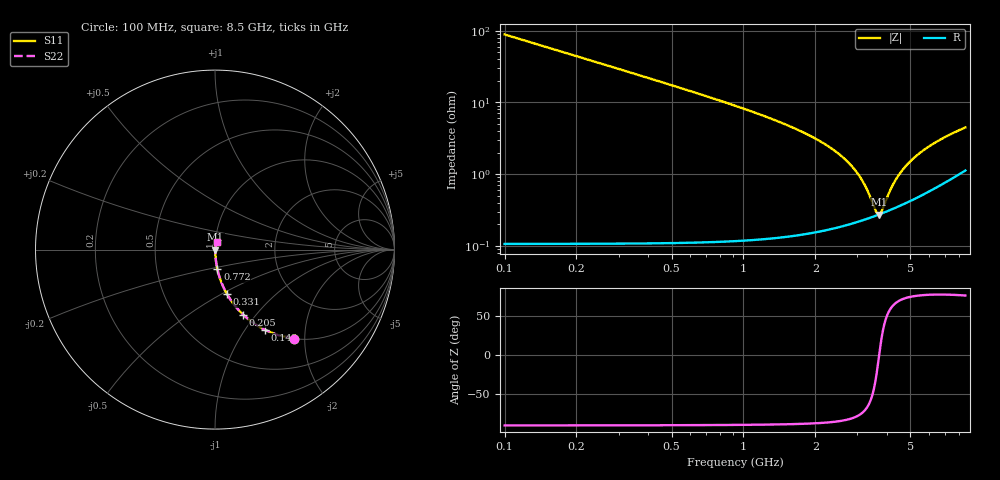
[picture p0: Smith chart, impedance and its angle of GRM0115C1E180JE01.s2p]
!Murata Part Number: GRM0115C1E180JE01
!These Parameters are Measured in Series Mode Connection
!Data Generated on Mar 30, 2021
!  o--ll--o
!Port1  Port2
!  o------o
!Operation Temp=25[degC], DC Bias Voltage=0[V]
!Freq. Start=100[MHz] Stop=9[GHz] 401[Steps]
# Hz S RI R 50
!Freq.(Hz) S11(Real) S11(Imag) S21(Real) S21(Imag) S12(Real) S12(Imag) S22(Real) S22(Imag)
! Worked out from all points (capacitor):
!   401 points, 100 MHz to 8.5 GHz, reference 50 ohm
!   read as one part in series: C = 18 pF near 142 MHz
!   lowest |Z| = 274 mohm at 3.691 GHz (marker M1)
!   series resonance near 3.702 GHz, so ESL is about 100 pH
!   S11 on the Smith chart (normalised r, x): 100 MHz: 1.00, -1.77; 142 MHz: 1.00, -1.24; 205 MHz: 1.00, -0.86; 331 MHz: 1.00, -0.53; 772 MHz: 1.00, -0.22; 8.5 GHz: 1.02, +0.09
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1e8  0.4385 -0.4956  0.5615 0.4956  0.5615 0.4956  0.4385 -0.4956
1.42e8  0.2791 -0.4477  0.7209 0.4477  0.7209 0.4477  0.2791 -0.4477
2.05e8  0.1567 -0.3622  0.8433 0.3622  0.8433 0.3622  0.1567 -0.3622
2.68e8  0.098 -0.2957  0.902 0.2957  0.902 0.2957  0.098 -0.2957
3.31e8  0.0665 -0.2471  0.9335 0.2471  0.9335 0.2471  0.0665 -0.2471
5.2e8  0.028 -0.1618  0.972 0.1618  0.972 0.1618  0.028 -0.1618
7.72e8  0.013 -0.108  0.987 0.108  0.987 0.108  0.013 -0.108
1.087e9  0.00668 -0.0737  0.9933 0.0737  0.9933 0.0737  0.00668 -0.0737
1.507e9  0.00371 -0.0487  0.9963 0.0487  0.9963 0.0487  0.00371 -0.0487
2.41e9  0.0022 -0.021  0.9978 0.021  0.9978 0.021  0.0022 -0.021
2.914e9  0.00222 -0.0115  0.9978 0.0115  0.9978 0.0115  0.00222 -0.0115
3.229e9  0.00237 -0.00652  0.9976 0.00652  0.9976 0.00652  0.00237 -0.00652
3.586e9  0.00263 -0.00152  0.9974 0.00152  0.9974 0.00152  0.00263 -0.00152
3.691e9  0.00273 -0.000147  0.9973 0.000147  0.9973 0.000147  0.00273 -0.000147
3.796e9  0.00283 0.00118  0.9972 -0.00118  0.9972 -0.00118  0.00283 0.00118
4.069e9  0.00312 0.00448  0.9969 -0.00448  0.9969 -0.00448  0.00312 0.00448
4.3e9  0.0034 0.0071  0.9966 -0.0071  0.9966 -0.0071  0.0034 0.0071
4.573e9  0.00377 0.0101  0.9962 -0.0101  0.9962 -0.0101  0.00377 0.0101
4.888e9  0.00423 0.0133  0.9958 -0.0133  0.9958 -0.0133  0.00423 0.0133
5.707e9  0.00568 0.0209  0.9943 -0.0209  0.9943 -0.0209  0.00568 0.0209
7.114e9  0.00888 0.0324  0.9911 -0.0324  0.9911 -0.0324  0.00888 0.0324
8.5e9  0.0129 0.0422  0.9871 -0.0422  0.9871 -0.0422  0.0129 0.0422
